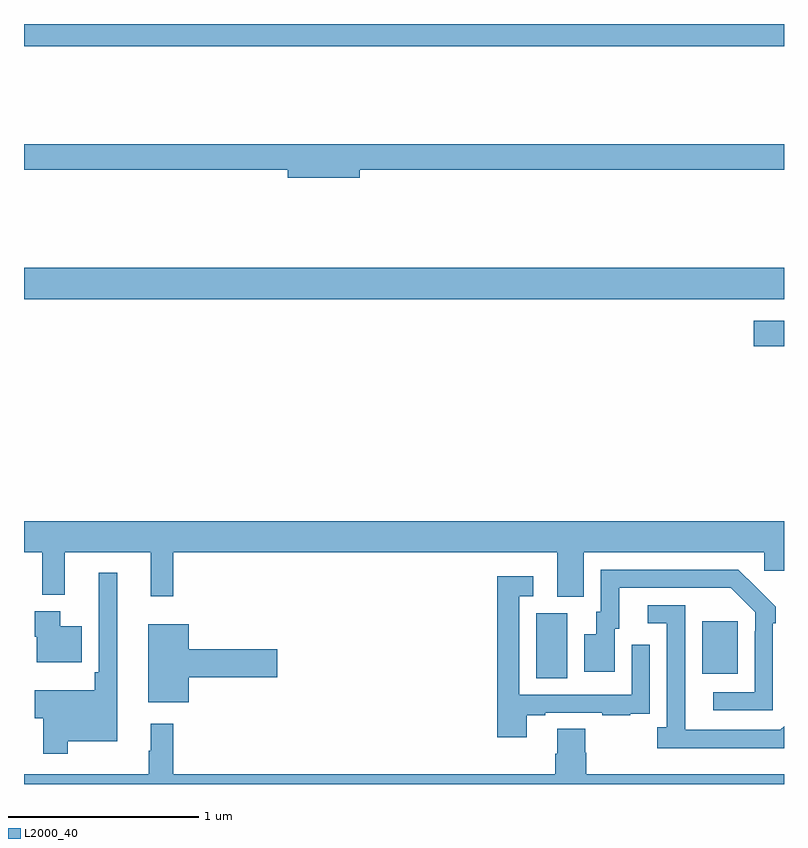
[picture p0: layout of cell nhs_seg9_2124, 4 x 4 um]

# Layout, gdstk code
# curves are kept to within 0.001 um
import gdstk
lib = gdstk.Library(unit=1e-6, precision=1e-09)
def R(c, l, rs):  # rectangles x0, y0, x1, y1
    for r in rs: c.add(gdstk.rectangle(r[:2], r[2:], *l))
def P(c, l, *ps):  # polygons
    for p in ps: c.add(gdstk.Polygon(p, *l))
L2000_40 = (2000, 40)

nhs_seg9_2124 = lib.new_cell('nhs_seg9_2124')
R(nhs_seg9_2124, L2000_40, [(233.696,1229.056,233.86,1229.4), (234.569,1229.081,234.757,1229.356), (234.84,1230.803,235,1230.937), (231,1231.052,235,1231.216), (231,1232.384,235,1232.5)])
P(nhs_seg9_2124, L2000_40, [(232.768,1231.732),(235,1231.732),(235,1231.868),(231,1231.868),(231,1231.732),(232.388,1231.732),(232.388,1231.69),(232.768,1231.69)],
  [(233.947,1229.72),(234.897,1229.72),(234.897,1229.622),(235,1229.622),(235,1229.884),(231,1229.884),(231,1229.72),(231.097,1229.72),(231.097,1229.495),(231.215,1229.495),(231.215,1229.72),(231.668,1229.72),(231.668,1229.487),(231.785,1229.487),(231.785,1229.72),(233.807,1229.72),(233.807,1229.485),(233.947,1229.485)],
  [(234.942,1229.345),(234.957,1229.345),(234.957,1229.433),(234.76,1229.628),(234.036,1229.628),(234.036,1229.406),(234.011,1229.406),(234.011,1229.287),(233.948,1229.287),(233.948,1229.091),(234.109,1229.091),(234.109,1229.316),(234.133,1229.316),(234.133,1229.532),(234.721,1229.532),(234.849,1229.403),(234.849,1229.303),(234.846,1229.303),(234.846,1228.983),(234.627,1228.983),(234.627,1228.887),(234.942,1228.887)],
  [(231.229,1228.724),(231.49,1228.724),(231.49,1229.611),(231.393,1229.611),(231.393,1229.089),(231.373,1229.089),(231.373,1228.993),(231.056,1228.993),(231.056,1228.846),(231.1,1228.846),(231.1,1228.659),(231.229,1228.659)],
  [(233.647,1228.863),(233.743,1228.863),(233.743,1228.875),(234.043,1228.875),(234.043,1228.863),(234.191,1228.863),(234.191,1228.869),(234.293,1228.869),(234.293,1228.978),(234.294,1228.978),(234.294,1229.233),(234.198,1229.233),(234.198,1228.971),(233.607,1228.971),(233.607,1229.487),(233.68,1229.487),(233.68,1229.593),(233.491,1229.593),(233.491,1228.746),(233.647,1228.746)],
  [(235,1228.804),(234.981,1228.785),(234.481,1228.785),(234.48,1229.442),(234.282,1229.442),(234.282,1229.346),(234.384,1229.346),(234.384,1228.798),(234.333,1228.798),(234.333,1228.688),(235,1228.688)],
  [(231.304,1229.329),(231.19,1229.329),(231.19,1229.41),(231.056,1229.41),(231.056,1229.274),(231.068,1229.274),(231.068,1229.141),(231.304,1229.141)],
  [(231.868,1229.063),(232.333,1229.063),(232.333,1229.21),(231.868,1229.21),(231.868,1229.341),(231.653,1229.341),(231.653,1228.931),(231.868,1228.931)],
  [(235,1228.552),(233.96,1228.552),(233.96,1228.665),(233.955,1228.665),(233.955,1228.79),(233.807,1228.79),(233.807,1228.658),(233.795,1228.658),(233.795,1228.552),(231.785,1228.552),(231.785,1228.816),(231.668,1228.816),(231.668,1228.676),(231.657,1228.676),(231.657,1228.552),(231,1228.552),(231,1228.5),(235,1228.5)])

lib.write_gds('nhs_seg9_2124.gds')
